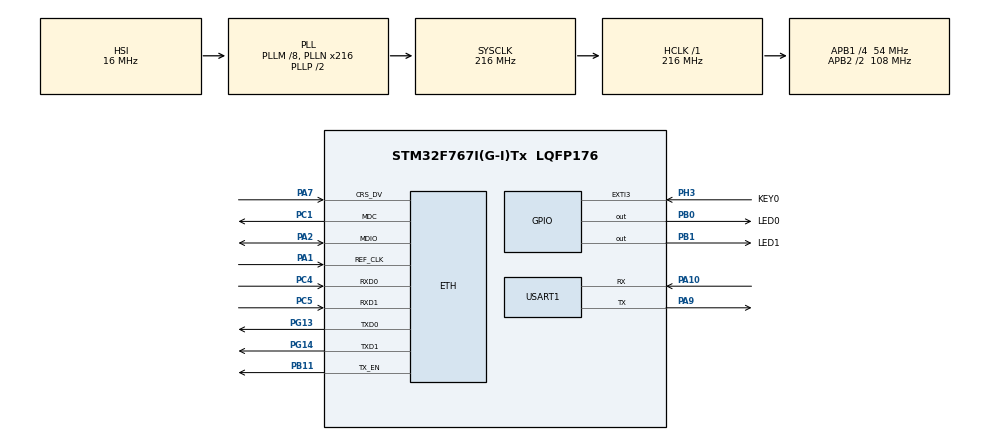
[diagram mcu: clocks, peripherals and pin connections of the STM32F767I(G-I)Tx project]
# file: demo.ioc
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CORTEX_M7.CPU_DCache=Enabled
CORTEX_M7.CPU_ICache=Enabled
Dma.Request0=USART1_TX
Dma.Request1=USART1_RX
Dma.USART1_RX.1.Direction=DMA_PERIPH_TO_MEMORY
Dma.USART1_RX.1.FIFOMode=DMA_FIFOMODE_DISABLE
Dma.USART1_RX.1.Instance=DMA2_Stream2
Dma.USART1_RX.1.MemDataAlignment=DMA_MDATAALIGN_BYTE
Dma.USART1_RX.1.MemInc=DMA_MINC_ENABLE
Dma.USART1_RX.1.Mode=DMA_NORMAL
Dma.USART1_RX.1.PeriphDataAlignment=DMA_PDATAALIGN_BYTE
Dma.USART1_RX.1.PeriphInc=DMA_PINC_DISABLE
Dma.USART1_RX.1.Priority=DMA_PRIORITY_LOW
Dma.USART1_TX.0.Direction=DMA_MEMORY_TO_PERIPH
Dma.USART1_TX.0.FIFOMode=DMA_FIFOMODE_DISABLE
Dma.USART1_TX.0.Instance=DMA2_Stream7
Dma.USART1_TX.0.MemDataAlignment=DMA_MDATAALIGN_BYTE
Dma.USART1_TX.0.MemInc=DMA_MINC_ENABLE
Dma.USART1_TX.0.Mode=DMA_NORMAL
Dma.USART1_TX.0.PeriphDataAlignment=DMA_PDATAALIGN_BYTE
Dma.USART1_TX.0.PeriphInc=DMA_PINC_DISABLE
Dma.USART1_TX.0.Priority=DMA_PRIORITY_LOW
ETH.ETH_RX_DESC_CNT=12
ETH.ETH_TX_DESC_CNT=12
ETH.MediaInterface=HAL_ETH_RMII_MODE
ETH.RxBuffLen=128
FREERTOS.Tasks01=defaultTask,0,4096,StartDefaultTask,Default,NULL,Dynamic,NULL,NULL;feedDogTask,-3,2048,StartTask02,Default,NULL,Dynamic,NULL,NULL
FREERTOS.configMINIMAL_STACK_SIZE=2048
FREERTOS.configTOTAL_HEAP_SIZE=102400
FREERTOS.configUSE_NEWLIB_REENTRANT=1
LWIP.BSP.number=1
LWIP.DEFAULT_THREAD_STACKSIZE=2048
LWIP.GATEWAY_ADDRESS=192.168.001.001
LWIP.IP_ADDRESS=192.168.001.010
LWIP.LWIP_ARP=1
LWIP.LWIP_DHCP=0
LWIP.MEMP_NUM_PBUF=16
LWIP.MEM_SIZE=1600
LWIP.NETMASK_ADDRESS=255.255.255.000
LWIP.PBUF_POOL_BUFSIZE=1536
LWIP.PBUF_POOL_SIZE=16
LWIP.SLIPIF_THREAD_STACKSIZE=2048
LWIP.TCPIP_THREAD_NAME="tcpip_thread1"
LWIP.TCPIP_THREAD_STACKSIZE=2048
LWIP.Version=v2.1.2_Cube
LWIP0.BSP.STBoard=false
LWIP0.BSP.api=BSP_COMPONENT_DRIVER
LWIP0.BSP.component=LAN8742
LWIP0.BSP.instance=LAN8742
LWIP0.BSP.name=Driver_PHY
LWIP0.BSP.semaphore=S_LAN8742
LWIP0.BSP.solution=LAN8742
Mcu.Family=STM32F7
Mcu.Name=STM32F767I(G-I)Tx
Mcu.Package=LQFP176
NVIC.DMA2_Stream2_IRQn=true\:5\:0\:false\:false\:true\:true\:false\:true\:true
NVIC.DMA2_Stream7_IRQn=true\:5\:0\:false\:false\:true\:true\:false\:true\:true
NVIC.ETH_IRQn=true\:5\:0\:false\:false\:true\:true\:false\:true\:true
NVIC.EXTI3_IRQn=true\:5\:0\:false\:false\:true\:true\:true\:true\:true
NVIC.PriorityGroup=NVIC_PRIORITYGROUP_4
NVIC.TIM1_UP_TIM10_IRQn=true\:15\:0\:false\:false\:true\:false\:false\:true\:true
NVIC.TimeBase=TIM1_UP_TIM10_IRQn
NVIC.TimeBaseIP=TIM10
NVIC.USART1_IRQn=true\:5\:0\:false\:false\:true\:true\:true\:true\:true
PA1.Mode=RMII
PA1.Signal=ETH_REF_CLK
PA10.Mode=Asynchronous
PA10.Signal=USART1_RX
PA13.Mode=Trace_Synchro_4bits_JTAG
PA13.Signal=SYS_JTMS-SWDIO
PA14.Mode=Trace_Synchro_4bits_JTAG
PA14.Signal=SYS_JTCK-SWCLK
PA15.Mode=Trace_Synchro_4bits_JTAG
PA15.Signal=SYS_JTDI
PA2.Mode=RMII
PA2.Signal=ETH_MDIO
PA7.Mode=RMII
PA7.Signal=ETH_CRS_DV
PA9.Mode=Asynchronous
PA9.Signal=USART1_TX
PB0.GPIO_Label=LED0
PB0.PinState=GPIO_PIN_SET
PB0.Signal=GPIO_Output
PB1.GPIO_Label=LED1
PB1.PinState=GPIO_PIN_SET
PB1.Signal=GPIO_Output
PB11.Mode=RMII
PB11.Signal=ETH_TX_EN
PB2.Signal=QUADSPI_CLK
PB3.Mode=Trace_Synchro_4bits_JTAG
PB3.Signal=SYS_JTDO-SWO
PB6.Signal=QUADSPI_BK1_NCS
PC1.Mode=RMII
PC1.Signal=ETH_MDC
PC14/OSC32_IN.Mode=LSE-External-Oscillator
PC14/OSC32_IN.Signal=RCC_OSC32_IN
PC15/OSC32_OUT.Mode=LSE-External-Oscillator
PC15/OSC32_OUT.Signal=RCC_OSC32_OUT
PC4.Mode=RMII
PC4.Signal=ETH_RXD0
PC5.Mode=RMII
PC5.Signal=ETH_RXD1
PE2.Mode=Trace_Synchro_4bits_JTAG
PE2.Signal=SYS_TRACECLK
PE3.Mode=Trace_Synchro_4bits_JTAG
PE3.Signal=SYS_TRACED0
PE4.Mode=Trace_Synchro_4bits_JTAG
PE4.Signal=SYS_TRACED1
PE5.Mode=Trace_Synchro_4bits_JTAG
PE5.Signal=SYS_TRACED2
PE6.Mode=Trace_Synchro_4bits_JTAG
PE6.Signal=SYS_TRACED3
PG13.Mode=RMII
PG13.Signal=ETH_TXD0
PG14.Mode=RMII
PG14.Signal=ETH_TXD1
PH0/OSC_IN.Mode=HSE-External-Oscillator
PH0/OSC_IN.Signal=RCC_OSC_IN
PH1/OSC_OUT.Mode=HSE-External-Oscillator
PH1/OSC_OUT.Signal=RCC_OSC_OUT
PH3.GPIO_Label=KEY0
PH3.GPIO_ModeDefaultEXTI=GPIO_MODE_IT_FALLING
PH3.GPIO_PuPd=GPIO_PULLUP
PH3.Signal=GPXTI3
ProjectManager.HeapSize=0x2000
ProjectManager.StackSize=0x2000
ProjectManager.TargetToolchain=STM32CubeIDE
RCC.AHBFreq_Value=216000000
RCC.APB1CLKDivider=RCC_HCLK_DIV4
RCC.APB1Freq_Value=54000000
RCC.APB1TimFreq_Value=108000000
RCC.APB2CLKDivider=RCC_HCLK_DIV2
RCC.APB2Freq_Value=108000000
RCC.APB2TimFreq_Value=216000000
RCC.CortexFreq_Value=216000000
RCC.HCLKFreq_Value=216000000
RCC.HSE_VALUE=25000000
RCC.HSI_VALUE=16000000
RCC.PLLM=8
RCC.PLLN=216
RCC.SYSCLKFreq_VALUE=216000000
RCC.SYSCLKSource=RCC_SYSCLKSOURCE_PLLCLK
RCC.USART1CLockSelection=RCC_USART1CLKSOURCE_SYSCLK
RCC.USBFreq_Value=216000000
RCC.VCOOutputFreq_Value=432000000
USART1.VirtualMode-Asynchronous=VM_ASYNC
VP_FREERTOS_VS_CMSIS_V1.Mode=CMSIS_V1
VP_LWIP_VS_Enabled.Mode=Enabled
VP_SYS_VS_tim10.Mode=TIM10
board=custom

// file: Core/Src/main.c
/* USER CODE BEGIN Header */
/**
  ******************************************************************************
  * @file           : main.c
  * @brief          : Main program body
  ******************************************************************************
  * @attention
  *
  * Copyright (c) 2024 STMicroelectronics.
  * All rights reserved.
  *
  * This software is licensed under terms that can be found in the LICENSE file
  * in the root directory of this software component.
  * If no LICENSE file comes with this software, it is provided AS-IS.
  *
  ******************************************************************************
  */
/* USER CODE END Header */
#include "main.h"
#include "cmsis_os.h"
#include "dma.h"
#include "lwip.h"
#include "usart.h"
#include "gpio.h"

/* USER CODE BEGIN Includes */
#include "pcf8574.h"
#include "delay.h"
/* USER CODE END Includes */

void SystemClock_Config(void);
void MX_FREERTOS_Init(void);

int main(void)
{
/* Enable the CPU Cache */

  /* Enable I-Cache---------------------------------------------------------*/
  SCB_EnableICache();

  /* Enable D-Cache---------------------------------------------------------*/
  SCB_EnableDCache();

  /* MCU Configuration--------------------------------------------------------*/

  /* Reset of all peripherals, Initializes the Flash interface and the Systick. */
  HAL_Init();

  /* Configure the system clock */
  SystemClock_Config();

  /* USER CODE BEGIN SysInit */
  SCB->CACR|=1<<2;  //强制D-Cache�?写,如�?开�?�,实际使用中�?�能�?�到�?��?问题
  delay_init();
  /* USER CODE END SysInit */

  /* Initialize all configured peripherals */
  MX_GPIO_Init();
  MX_DMA_Init();
  MX_USART1_UART_Init();
  /* USER CODE BEGIN 2 */

  PCF8574_Init();
	PCF8574_WriteBit(ETH_RESET_IO,1);
	delay_ms(100);
	PCF8574_WriteBit(ETH_RESET_IO,0);
	delay_ms(100);
  /* USER CODE END 2 */

  /* Call init function for freertos objects (in freertos.c) */
  MX_FREERTOS_Init();

  /* Start scheduler */
  osKernelStart();

  /* We should never get here as control is now taken by the scheduler */
  /* Infinite loop */
  while (1)
  {

  }
}

void SystemClock_Config(void)
{
  RCC_OscInitTypeDef RCC_OscInitStruct = {0};
  RCC_ClkInitTypeDef RCC_ClkInitStruct = {0};

  /** Configure LSE Drive Capability
  */
  HAL_PWR_EnableBkUpAccess();

  /** Configure the main internal regulator output voltage
  */
  __HAL_RCC_PWR_CLK_ENABLE();
  __HAL_PWR_VOLTAGESCALING_CONFIG(PWR_REGULATOR_VOLTAGE_SCALE1);

  /** Initializes the RCC Oscillators according to the specified parameters
  * in the RCC_OscInitTypeDef structure.
  */
  RCC_OscInitStruct.OscillatorType = RCC_OSCILLATORTYPE_HSI;
  RCC_OscInitStruct.HSIState = RCC_HSI_ON;
  RCC_OscInitStruct.HSICalibrationValue = RCC_HSICALIBRATION_DEFAULT;
  RCC_OscInitStruct.PLL.PLLState = RCC_PLL_ON;
  RCC_OscInitStruct.PLL.PLLSource = RCC_PLLSOURCE_HSI;
  RCC_OscInitStruct.PLL.PLLM = 8;
  RCC_OscInitStruct.PLL.PLLN = 216;
  RCC_OscInitStruct.PLL.PLLP = RCC_PLLP_DIV2;
  RCC_OscInitStruct.PLL.PLLQ = 2;
  RCC_OscInitStruct.PLL.PLLR = 2;
  if (HAL_RCC_OscConfig(&RCC_OscInitStruct) != HAL_OK)
  {
    Error_Handler();
  }

  /** Activate the Over-Drive mode
  */
  if (HAL_PWREx_EnableOverDrive() != HAL_OK)
  {
    Error_Handler();
  }

  /** Initializes the CPU, AHB and APB buses clocks
  */
  RCC_ClkInitStruct.ClockType = RCC_CLOCKTYPE_HCLK|RCC_CLOCKTYPE_SYSCLK
                              |RCC_CLOCKTYPE_PCLK1|RCC_CLOCKTYPE_PCLK2;
  RCC_ClkInitStruct.SYSCLKSource = RCC_SYSCLKSOURCE_PLLCLK;
  RCC_ClkInitStruct.AHBCLKDivider = RCC_SYSCLK_DIV1;
  RCC_ClkInitStruct.APB1CLKDivider = RCC_HCLK_DIV4;
  RCC_ClkInitStruct.APB2CLKDivider = RCC_HCLK_DIV2;

  if (HAL_RCC_ClockConfig(&RCC_ClkInitStruct, FLASH_LATENCY_7) != HAL_OK)
  {
    Error_Handler();
  }
}

void HAL_TIM_PeriodElapsedCallback(TIM_HandleTypeDef *htim)
{
  if (htim->Instance == TIM10) {
    HAL_IncTick();
  }
}

void Error_Handler(void)
{
  __disable_irq();
  while (1)
  {
  }
}

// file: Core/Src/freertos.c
/* USER CODE BEGIN Header */
/**
  ******************************************************************************
  * File Name          : freertos.c
  * Description        : Code for freertos applications
  ******************************************************************************
  * @attention
  *
  * Copyright (c) 2024 STMicroelectronics.
  * All rights reserved.
  *
  * This software is licensed under terms that can be found in the LICENSE file
  * in the root directory of this software component.
  * If no LICENSE file comes with this software, it is provided AS-IS.
  *
  ******************************************************************************
  */
/* USER CODE END Header */

#include "FreeRTOS.h"
#include "task.h"
#include "main.h"
#include "cmsis_os.h"

/* USER CODE BEGIN Includes */
#include "pcf8574.h"
#include <stdio.h>
#include <stdbool.h>
#include "usart.h"
#include "lwip/sockets.h"
#include "lwip/netif.h"
#include "lwip/ip_addr.h"
#include <string.h>
#include "lwip/sockets.h"
#include "ethernet.h"
//#include <stdbool.h>
/* USER CODE END Includes */

/* USER CODE BEGIN PD */
bool sendflag = false;

bool arpReplyflag = false;

bool testflag = false;

uint8_t rxbuf[17] = {0};
uint8_t net_init_flag;

extern ETH_HandleTypeDef heth;
extern ETH_TxPacketConfig TxConfig;
extern osSemaphoreId TxPktSemaphore;
extern osSemaphoreId RxPktSemaphore;

//mutex for arp interaction
SemaphoreHandle_t  mutex;

/* USER CODE END PD */

/* USER CODE BEGIN Variables */
osThreadId dmaReceiveTaskHandle;
osThreadId receiveEthTaskHandle;
/* USER CODE END Variables */
osThreadId defaultTaskHandle;
osThreadId transmitEthTaskHandle;

/* USER CODE BEGIN FunctionPrototypes */

void StartTask03(void const * argument);

void StartTask04(void const * argument);

//  ARP请求结构
typedef  struct  {
      uint8_t  hardware_type[2];  //  硬件类型，以太网为1
      uint8_t  protocol_type[2];  //  协议类型，IPv4为0x0800
      uint8_t  hardware_size;      //  硬件地址长度，以太网为6
      uint8_t  protocol_size;      //  协议地址长度，IPv4为4
      uint16_t  operation;          //  操作码，1表示ARP请求
      uint8_t  sender_mac[6];      //  发送者MAC地址
      uint8_t  sender_ip[4];       //  发送者IP地址
      uint8_t  target_mac[6];      //  目标MAC地址（ARP请求时为全0）
      uint8_t  target_ip[4];       //  目标IP地址
}  ARP_Packet;

uint8_t  my_mac_address[]  =  {0x00,  0x80,  0xE1,  0x00,  0x00,  0x00};
uint8_t  my_ip_address[]  =  {192,  168,  1,  10};
uint8_t  target_ip_address[]  =  {192,  168,  1,  5};  //  目标IP地址
uint8_t  target_mac_address[]  =  {0x08,  0x00,  0x27,  0xA0,  0x12,  0x40};

//  构建ARP请求
void  build_arp_request(ARP_Packet  *arp_packet,  uint8_t  *sender_mac,  uint8_t  *sender_ip,  uint8_t  *target_ip)  {
      //  硬件类型和协议类型
      arp_packet->hardware_type[0]  =  0x00;
      arp_packet->hardware_type[1]  =  0x01;
      arp_packet->protocol_type[0]  =  0x08;
      arp_packet->protocol_type[1]  =  0x00;
      //  硬件地址和协议地址长度
      arp_packet->hardware_size  =  0x06;
      arp_packet->protocol_size  =  0x04;
      //  操作码，ARP请求
      arp_packet->operation  =  0x0100;   //0001 ——》网络序0100
      //  发送者MAC地址和IP地址
      memcpy(arp_packet->sender_mac,  sender_mac,  6);
      memcpy(arp_packet->sender_ip,  sender_ip,  4);
      //  目标MAC地址，ARP请求时为全0
      memset(arp_packet->target_mac,  0,  6);
      //  目标IP地址
      memcpy(arp_packet->target_ip,  target_ip,  4);
}

//  构建ARP reply
void  build_arp_reply(ARP_Packet  *arp_packet,  uint8_t  *sender_mac, uint8_t *target_mac,  uint8_t  *sender_ip,  uint8_t  *target_ip)  {
      //  硬件类型和协议类型
      arp_packet->hardware_type[0]  =  0x00;
      arp_packet->hardware_type[1]  =  0x01;
      arp_packet->protocol_type[0]  =  0x08;
      arp_packet->protocol_type[1]  =  0x00;
      //  硬件地址和协议地址长度
      arp_packet->hardware_size  =  0x06;
      arp_packet->protocol_size  =  0x04;
      //  操作码，ARP请求
      arp_packet->operation  =  0x0200;
      //  发送者MAC地址和IP地址
      memcpy(arp_packet->sender_mac,  sender_mac,  6);
      memcpy(arp_packet->sender_ip,  sender_ip,  4);
      //  目标MAC地址，ARP请求时为全0
      memcpy(arp_packet->target_mac,  target_mac,  6);
      //  目标IP地址
      memcpy(arp_packet->target_ip,  target_ip,  4);
}

err_t transmit_frame(struct pbuf *p){
    uint32_t i = 0U;
    struct pbuf *q = NULL;
    err_t errval = ERR_OK;
    ETH_BufferTypeDef Txbuffer[ETH_TX_DESC_CNT] = {0};

    memset(Txbuffer, 0 , ETH_TX_DESC_CNT*sizeof(ETH_BufferTypeDef));

    for(q = p; q != NULL; q = q->next)
    {
      if(i >= ETH_TX_DESC_CNT)
        return ERR_IF;

      Txbuffer[i].buffer = q->payload;
      Txbuffer[i].len = q->len;

      if(i>0)
      {
        Txbuffer[i-1].next = &Txbuffer[i];
      }

      if(q->next == NULL)
      {
        Txbuffer[i].next = NULL;
      }

      i++;
    }

    TxConfig.Length = p->tot_len;
    TxConfig.TxBuffer = Txbuffer;
    TxConfig.pData = p;

    pbuf_ref(p);

    if (HAL_ETH_Transmit_IT(&heth, &TxConfig) == HAL_OK) {
      while(osSemaphoreWait(TxPktSemaphore, portMAX_DELAY)!=osOK)

      {
      }

      //must release
      HAL_ETH_ReleaseTxPacket(&heth);
    } else {
      pbuf_free(p);
    }

    return errval;
}

/**
 * @brief rewrite HAL_ETH_ReleaseTxPacket when tx dont use pbuf
 *
 * @param heth
 * @return HAL_StatusTypeDef
 */
HAL_StatusTypeDef HAL_ETH_ReleaseTxPacket_rewr(ETH_HandleTypeDef *heth)
{
  ETH_TxDescListTypeDef *dmatxdesclist = &heth->TxDescList;
  uint32_t numOfBuf =  dmatxdesclist->BuffersInUse;
  uint32_t idx =       dmatxdesclist->releaseIndex;
  uint8_t pktTxStatus = 1U;
  uint8_t pktInUse;

  /* Loop through buffers in use.  */
  while ((numOfBuf != 0U) && (pktTxStatus != 0U))
  {
    pktInUse = 1U;
    numOfBuf--;
    /* If no packet, just examine the next packet.  */
    if (dmatxdesclist->PacketAddress[idx] == NULL)
    {
      /* No packet in use, skip to next.  */
      idx = (idx + 1U) & (ETH_TX_DESC_CNT - 1U);
      pktInUse = 0U;
    }

    if (pktInUse != 0U)
    {
      /* Determine if the packet has been transmitted.  */
      if ((heth->Init.TxDesc[idx].DESC0 & ETH_DMATXDESC_OWN) == 0U)
      {
        /* Release the packet.  */
        //dont need anymore
        //HAL_ETH_TxFreeCallback(dmatxdesclist->PacketAddress[idx]);

        /* Clear the entry in the in-use array.  */
        dmatxdesclist->PacketAddress[idx] = NULL;

        /* Update the transmit relesae index and number of buffers in use.  */
        idx = (idx + 1U) & (ETH_TX_DESC_CNT - 1U);
        dmatxdesclist->BuffersInUse = numOfBuf;
        dmatxdesclist->releaseIndex = idx;
      }
      else
      {
        /* Get out of the loop!  */
        pktTxStatus = 0U;
      }
    }
  }
  return HAL_OK;
}

//arp req frame len 42
bool transmit_frame_nopbuf(void *p, uint32_t len){
    ETH_BufferTypeDef Txbuffer[ETH_TX_DESC_CNT] = {0};

    memset(Txbuffer, 0 , ETH_TX_DESC_CNT*sizeof(ETH_BufferTypeDef));

    Txbuffer[0].buffer = p;
    Txbuffer[0].len = len;
    Txbuffer[0].next = NULL;
    TxConfig.Length = len;
    TxConfig.TxBuffer = Txbuffer;
    TxConfig.pData = p;   //是否保存

    if (HAL_ETH_Transmit_IT(&heth, &TxConfig) == HAL_OK) {
      while(osSemaphoreWait(TxPktSemaphore, portMAX_DELAY)!=osOK)
      {
      }

      //printf("one frame has been transmited\r\n");

      vPortFree(p);

      // must release because ETH_TX_DESC_CNT is 4 according to configuration
      HAL_ETH_ReleaseTxPacket_rewr(&heth);
      return true;
    } else {
      printf("transmit error\r\n");
      return false;
    }
}

//arp req frame len 42
bool transmit_frame_nopbuf_nofree(void *p, uint32_t len){
    ETH_BufferTypeDef Txbuffer[ETH_TX_DESC_CNT] = {0};

    memset(Txbuffer, 0 , ETH_TX_DESC_CNT*sizeof(ETH_BufferTypeDef));

    Txbuffer[0].buffer = p;
    Txbuffer[0].len = len;
    Txbuffer[0].next = NULL;
    TxConfig.Length = len;
    TxConfig.TxBuffer = Txbuffer;
    TxConfig.pData = p;   //是否保存

    if (HAL_ETH_Transmit_IT(&heth, &TxConfig) == HAL_OK) {
      while(osSemaphoreWait(TxPktSemaphore, portMAX_DELAY)!=osOK)
      {
      }

      //printf("one frame has been transmited\r\n");

      //vPortFree(p);

      // must release because ETH_TX_DESC_CNT is 4 according to configuration
      HAL_ETH_ReleaseTxPacket_rewr(&heth);
      return true;
    } else {
      printf("transmit error\r\n");
      return false;
    }
}

uint8_t* buildframe(){
  //ARP数据包
  ARP_Packet  arp_packet;
  build_arp_request(&arp_packet,  my_mac_address,  my_ip_address,  target_ip_address);

  //以太网帧头
  struct eth_addr dst_mac = {0xFF,  0xFF,  0xFF,  0xFF,  0xFF,  0xFF};  //  广播地址
  struct eth_addr src_mac = {arp_packet.sender_mac[0],  arp_packet.sender_mac[1],  arp_packet.sender_mac[2],
                              arp_packet.sender_mac[3],  arp_packet.sender_mac[4],  arp_packet.sender_mac[5]};
  struct eth_hdr ethhdr;
  ethhdr.type = 0x0608;    //0806 ——》 网络序 0608
  SMEMCPY(&ethhdr.dest, &dst_mac, ETH_HWADDR_LEN);
  SMEMCPY(&ethhdr.src,  &src_mac, ETH_HWADDR_LEN);

  uint8_t *frame = (uint8_t*)pvPortMalloc(sizeof(struct eth_hdr) + sizeof(ARP_Packet));

  memcpy(frame,  &ethhdr,  sizeof(struct eth_hdr));
  memcpy(frame  +  sizeof(struct eth_hdr),  &arp_packet,  sizeof(ARP_Packet));

  //vPortFree();
  return frame;
}

uint8_t* buildframe_NULL(){
  //ARP数据包
  ARP_Packet  arp_packet;
  build_arp_request(&arp_packet,  my_mac_address,  my_ip_address,  target_ip_address);

  //以太网帧头
  struct eth_addr dst_mac = {0xFF,  0xFF,  0xFF,  0xFF,  0xFF,  0xFF};  //  广播地址
  struct eth_addr src_mac = {arp_packet.sender_mac[0],  arp_packet.sender_mac[1],  arp_packet.sender_mac[2],
                              arp_packet.sender_mac[3],  arp_packet.sender_mac[4],  arp_packet.sender_mac[5]};
  struct eth_hdr ethhdr;
  ethhdr.type = 0x0000;    //0806 ——》 网络序 0608
  SMEMCPY(&ethhdr.dest, &dst_mac, ETH_HWADDR_LEN);
  SMEMCPY(&ethhdr.src,  &src_mac, ETH_HWADDR_LEN);

  uint8_t *frame = (uint8_t*)pvPortMalloc(sizeof(struct eth_hdr) + sizeof(ARP_Packet));

  memcpy(frame,  &ethhdr,  sizeof(struct eth_hdr));
  memcpy(frame  +  sizeof(struct eth_hdr),  &arp_packet,  sizeof(ARP_Packet));

  //vPortFree();
  return frame;
}

uint8_t* buildframe_reply(){
  //ARP数据包
  ARP_Packet  arp_packet;
  build_arp_reply(&arp_packet,  my_mac_address, target_mac_address,  my_ip_address,  target_ip_address);

  //以太网帧头
  struct eth_addr dst_mac = {arp_packet.target_mac[0],  arp_packet.target_mac[1],  arp_packet.target_mac[2],
                              arp_packet.target_mac[3],  arp_packet.target_mac[4],  arp_packet.target_mac[5]};
  // struct eth_addr dst_mac = {target_mac_address[0],  target_mac_address[1],  target_mac_address[2],
  //                             target_mac_address[3],  target_mac_address[4],  target_mac_address[5]};
  struct eth_addr src_mac = {arp_packet.sender_mac[0],  arp_packet.sender_mac[1],  arp_packet.sender_mac[2],
                              arp_packet.sender_mac[3],  arp_packet.sender_mac[4],  arp_packet.sender_mac[5]};
  struct eth_hdr ethhdr;
  ethhdr.type = 0x0608;    //0806 ——》 网络序 0608
  SMEMCPY(&ethhdr.dest, &dst_mac, ETH_HWADDR_LEN);
  SMEMCPY(&ethhdr.src,  &src_mac, ETH_HWADDR_LEN);

  uint8_t *frame = (uint8_t*)pvPortMalloc(sizeof(struct eth_hdr) + sizeof(ARP_Packet));

  memcpy(frame,  &ethhdr,  sizeof(struct eth_hdr));
  memcpy(frame  +  sizeof(struct eth_hdr),  &arp_packet,  sizeof(ARP_Packet));

  //vPortFree();
  return frame;
}

static struct pbuf * receive_frame()
{
  struct pbuf *p = NULL;

  // if(RxAllocStatus == RX_ALLOC_OK)
  // {
    HAL_ETH_ReadData(&heth, (void **)&p);
  // }

  return p;
}

bool compare_mac(uint8_t *a, uint8_t *b){
  bool same = true;
  int i = 0;
  while(i<ETH_HWADDR_LEN){
    //printf("0000000  %02X %02X\r\n", a[i], b[i]);
    if(a[i] != b[i]){
      same = false;
      break;
    }
    ++i;
  }
  return same;
}

bool compare_ip(uint8_t *a, uint8_t *b){
  bool same = true;
  int i = 0;
  while(i<4){
    //printf("0000000  %u %u\r\n", a[i], b[i]);
    if(a[i] != b[i]){
      same = false;
      break;
    }
    ++i;
  }
  return same;
}
/* USER CODE END FunctionPrototypes */

void StartDefaultTask(void const * argument);
void StartTask02(void const * argument);

extern void MX_LWIP_Init(void);
void MX_FREERTOS_Init(void); /* (MISRA C 2004 rule 8.1) */

/* GetIdleTaskMemory prototype (linked to static allocation support) */
void vApplicationGetIdleTaskMemory( StaticTask_t **ppxIdleTaskTCBBuffer, StackType_t **ppxIdleTaskStackBuffer, uint32_t *pulIdleTaskStackSize );

/* USER CODE BEGIN GET_IDLE_TASK_MEMORY */
static StaticTask_t xIdleTaskTCBBuffer;
static StackType_t xIdleStack[configMINIMAL_STACK_SIZE];

void vApplicationGetIdleTaskMemory( StaticTask_t **ppxIdleTaskTCBBuffer, StackType_t **ppxIdleTaskStackBuffer, uint32_t *pulIdleTaskStackSize )
{
  *ppxIdleTaskTCBBuffer = &xIdleTaskTCBBuffer;
  *ppxIdleTaskStackBuffer = &xIdleStack[0];
  *pulIdleTaskStackSize = configMINIMAL_STACK_SIZE;
  /* place for user code */
}
/* USER CODE END GET_IDLE_TASK_MEMORY */

void MX_FREERTOS_Init(void) {

  /* Create the thread(s) */
  /* definition and creation of defaultTask */
  // osThreadDef(defaultTask, StartDefaultTask, osPriorityNormal, 0, 2048);
  // defaultTaskHandle = osThreadCreate(osThread(defaultTask), NULL);

  /* definition and creation of transmitEthTask */
  // osThreadDef(transmitEthTask, StartTask02, osPriorityRealtime, 0, 2048);
  // transmitEthTaskHandle = osThreadCreate(osThread(transmitEthTask), NULL);

  /* USER CODE BEGIN RTOS_THREADS */
  /* add threads, ... */
  // osThreadDef(dmaReceiveTask, StartTask03, osPriorityIdle, 0, 2048);
  // dmaReceiveTaskHandle = osThreadCreate(osThread(dmaReceiveTask), NULL);

  osThreadDef(receiveEthTask, StartTask04, osPriorityRealtime, 0, 2048);
  receiveEthTaskHandle = osThreadCreate(osThread(receiveEthTask), NULL);
  /* USER CODE END RTOS_THREADS */

}

void StartDefaultTask(void const * argument)
{
  /* init code for LWIP */
  MX_LWIP_Init();
  /* USER CODE BEGIN StartDefaultTask */
  /* Infinite loop */

  net_init_flag = 1;

  mutex = xSemaphoreCreateMutex();
  if(mutex == NULL){
    printf("arp mutex create failed!!!\r\n");
  }

  for(;;)
  {
	  HAL_GPIO_WritePin(GPIOB, LED0_Pin, GPIO_PIN_SET);
	  HAL_GPIO_WritePin(GPIOB, LED1_Pin, GPIO_PIN_SET);
	  osDelay(500);
	  HAL_GPIO_WritePin(GPIOB, LED0_Pin, GPIO_PIN_RESET);
	  HAL_GPIO_WritePin(GPIOB, LED1_Pin, GPIO_PIN_RESET);
	  osDelay(500);

  }
  /* USER CODE END StartDefaultTask */
}

void StartTask02(void const * argument)
{
  /* USER CODE BEGIN StartTask02 */

    MX_LWIP_Init();
  /* USER CODE BEGIN StartDefaultTask */
  /* Infinite loop */

  net_init_flag = 1;

  mutex = xSemaphoreCreateMutex();
  if(mutex == NULL){
    printf("arp mutex create failed!!!\r\n");
  }

  //等待网络初始化
   while (!net_init_flag)
   {
     printf("not init\r\n");
   }
  osDelay(500);

  //building once
  uint8_t *f1 = buildframe();
  uint8_t *f3 = buildframe_NULL();
  /* Infinite loop */
  for(;;)
  {
    /*send arp request*/
    if(sendflag){
      printf("build one\r\n");
      //uint8_t *f1 = buildframe();
      printf("will transmit one\r\n");
      transmit_frame_nopbuf(f1, 42);
      sendflag = false;
    }

    /*send arp reply*/
    if(arpReplyflag){
      printf("build one\r\n");
      uint8_t *f2 = buildframe_reply();
      printf("will transmit one\r\n");
      transmit_frame_nopbuf(f2, 42);
      arpReplyflag = false;
    }

    if(testflag){
      int i = 0;
      while (i<10000)
      {
        // printf("%d\r\n", i);
        transmit_frame_nopbuf_nofree(f1, 42);
        ++i;
      }

      transmit_frame_nopbuf_nofree(f3, 42);
      //testflag = false;

    }

    /**/
  }

  /* USER CODE END StartTask02 */
}

/* USER CODE BEGIN Application */
void StartTask03(void const * argument)
{
  static bool flag = true;
  rxbuf[16] = '\0';
  /**
   * @brief DMA接收
   *
   */
  HAL_UART_Receive_DMA(&huart1, rxbuf, sizeof(rxbuf)-1);

  osDelay(50);

  printf("reveive dma state: %d\r\n", hdma_usart1_rx.State);

  while(1){
    if(hdma_usart1_rx.State == HAL_DMA_STATE_READY)
		{
      printf("reveive string: %s\r\n", rxbuf);
      HAL_UART_Receive_DMA(&huart1, rxbuf, sizeof(rxbuf)-1);
    }
  }

  /**
   * @brief 中断接收
   *
   */
  // HAL_UART_Receive_IT(&huart1, rxbuf, sizeof(rxbuf));

  // osDelay(50);

  // printf("reveive dma state: %x\r\n", huart1.RxState);

  // while(1){
  //   if(huart1.RxState == HAL_UART_STATE_READY)
	// 	{
  //     printf("reveive string: %s\r\n", rxbuf);
  //     while(huart1.RxState != HAL_UART_STATE_BUSY_RX){
  //       HAL_UART_Receive_IT(&huart1, rxbuf, sizeof(rxbuf));
  //     }
  //     // not work
  //     //while(HAL_UART_Receive_IT(&huart1, rxbuf, sizeof(rxbuf)) != HAL_OK) ;
  //   }

  // }

}

void HAL_UART_RxCpltCallback(UART_HandleTypeDef *huart){
    //
}

void StartTask04(void const * argument)
{
  //等待网络初始化
MX_LWIP_Init();
net_init_flag = 1;

mutex = xSemaphoreCreateMutex();
  if(mutex == NULL){
    printf("arp mutex create failed!!!\r\n");
  }

  while (!net_init_flag)
  {
    printf("not init\r\n");
  }
  osDelay(500);

  /*接收ARP请求*/
  struct pbuf *p = NULL;
  struct eth_hdr *ethhdr;
  u16_t type;

  int total = 0;
  for( ;; )
  {
    if (osSemaphoreWait(RxPktSemaphore, portMAX_DELAY) == osOK)
    {
      do
      {
        p = receive_frame();
        if (p != NULL)
        {
          if(p->len == p->tot_len){
            //printf("receive one frame, len == tot_len, len without FCS(4): %u\r\n", p->len);

            //数据帧打印
            // uint8_t *tmp = (uint8_t *)p->payload;
            // for(int i=0;i<p->len;++i){
            //   printf("%02X  ", tmp[i]);
            // }
            // printf("\r\n");

          }
          else printf("len != tot_len\r\n");

          //数据帧处理
          ethhdr = (struct eth_hdr *)p->payload;

          type = ethhdr->type;

          switch (type) {
            /* IP packet? */
            case PP_HTONS(ETHTYPE_IP):
              break;

            /* ARP packet*/
            case PP_HTONS(ETHTYPE_ARP):
              // printf("src MAC: %02X %02X %02X %02X %02X %02X, type: %04X\r\n", (uint8_t)ethhdr->src.addr[0], (uint8_t)ethhdr->src.addr[1], (uint8_t)ethhdr->src.addr[2],
              //                               (uint8_t)ethhdr->src.addr[3], (uint8_t)ethhdr->src.addr[4], (uint8_t)ethhdr->src.addr[5],
              //                               lwip_htons(ethhdr->type));

              ARP_Packet * arpdata = (ARP_Packet *)((uint8_t*)ethhdr + sizeof(struct eth_hdr));
              uint16_t op = ntohs(arpdata->operation);

              if(op == 0x0001){
                if(compare_mac( (ethhdr->src).addr, target_mac_address)){
                  //printf("same\r\n");
                  total++;
                }
                // printf("this is an ARP request\r\n");
                // if(compare_ip(arpdata->sender_ip, target_ip_address)){
                //   printf("same\r\n");
                //   arpReplyflag = true;
                // }
              }
              else if(op == 0x0002){
                //printf("this is an ARP reply\r\n");
              }
              else if(op == 0x0000){
                //是否再判断下MAC？
                if(total < 10001)
                  printf("recv %d packets, %6.2f%% loss \r\n", total, (10000.0f - total) / 100.0f);
                total = 0;
              }
              else{
                //printf("other arp type\r\n");
              }

              break;

            default:
              break;
          }

          pbuf_free(p);
        }
      } while(p!=NULL);
    }
  }
}

/* USER CODE END Application */
